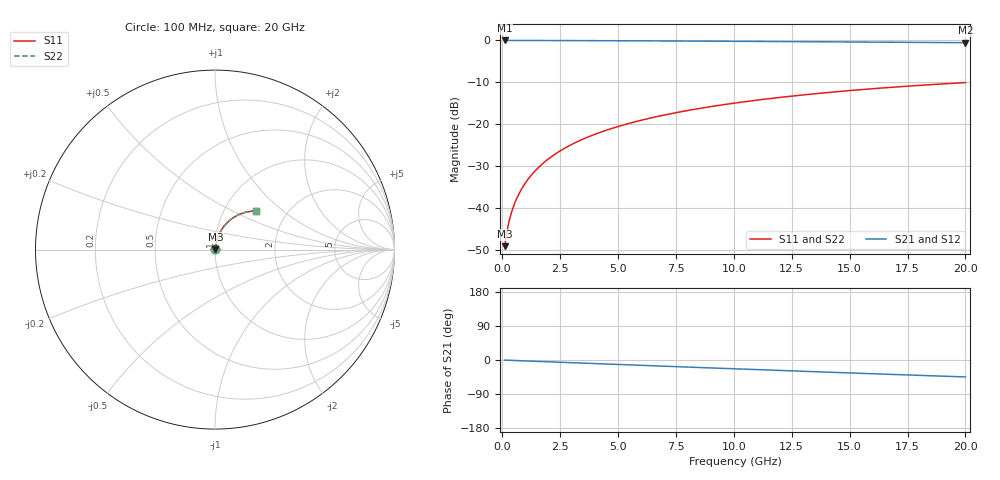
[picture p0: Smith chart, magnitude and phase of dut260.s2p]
! Touchstone file exported from HFSS 2026.1.0
!  File:  C:/ffzhzh/LocalFiles/Ansys_Project_Files/temp_train_BSMRDL_260_1782988754_42984.aedt
!  Generated:  06:40:26 PM Jul  2, 2026
!  Design:  BSMRDL
!  Project:  temp_train_BSMRDL_260_1782988754_42984
! Variables:
!  h_bsmrdl = 3.89um
!  h_ox = 20um
!  h_rdl = 5um
!  h_sub = 80um
!  h_tmrdl = 5um
!  h_tsv = 80um
!  h_via = 3um
!  l_bsmrdl = 709.08um
!  l_sub = 1109.08um
!  l_tmrdl = 200um
!  m_sub = 200um
!  pitch = 45.6um
!  r_tsv = 6um
!  s_tmrdl = 10um
!  w_bsmrdl = 26.57um
!  w_sub = 500um
!  w_tmrdl = 12um
!  x_tsv_center1 = 206um
!  x_tsv_center2 = 941.65um
!  x_tsv_center3 = 1153.65um
!  x_tsv_center4 = 1889.3um
!  x_tsv_center5 = 2101.3um
!  x_tsv_center6 = 2836.95um
# GHz S MA R 50.000000
! Terminal data exported
! Port[1] = BSM_RDL1_1_T1
! Port[2] = BSM_RDL1_1_T2
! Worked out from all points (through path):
!   200 points, 100 MHz to 20 GHz, reference 50 ohm
!   highest |S21| = -0.02 dB at 100 MHz (marker M1); lowest = -0.6 dB at 20 GHz (marker M2)
!   group delay of S21, straight-line fit = 6.21 ps
!   lowest |S11| = -49.1 dB at 100 MHz (marker M3), VSWR 1.01, Z = 50.3 + j0.224 ohm
!   |S11| at or under -10 dB: start of sweep to end of sweep
!   |S22| runs from -49.1 to -10.1 dB; largest |S21 - S12| = 4.2e-15
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0.1  0.00349 39.6  0.9973 -0.3  0.9973 -0.3  0.00349 39.6
! Gamma 0 0 0 0
! Port Impedance 50 0 50 0
0.2  0.005222 55.9  0.9971 -0.5  0.9971 -0.5  0.005221 55.9
0.3  0.007054 63.1  0.9969 -0.7  0.9969 -0.7  0.007052 63.1
0.4  0.008874 67.3  0.9967 -1.0  0.9967 -1.0  0.008871 67.3
0.5  0.01069 70.2  0.9966 -1.2  0.9966 -1.2  0.01068 70.2
0.6  0.0125 72.2  0.9965 -1.5  0.9965 -1.5  0.0125 72.3
0.8  0.01616 75.0  0.9963 -1.9  0.9963 -1.9  0.01616 75.1
1.1  0.02173 77.3  0.9961 -2.6  0.9961 -2.6  0.02172 77.3
1.3  0.02546 78.1  0.9959 -3.1  0.9959 -3.1  0.02546 78.2
1.6  0.03108 78.8  0.9956 -3.8  0.9956 -3.8  0.03108 78.8
2.1  0.04047 79.0  0.995 -5.0  0.995 -5.0  0.04047 79.0
2.7  0.05168 78.5  0.9942 -6.4  0.9942 -6.4  0.05168 78.5
3.5  0.06649 77.3  0.9928 -8.3  0.9928 -8.3  0.06649 77.4
4.2  0.07928 76.1  0.9914 -9.9  0.9914 -9.9  0.07927 76.1
5  0.09366 74.5  0.9896 -11.8  0.9896 -11.8  0.09366 74.5
5.9  0.1095 72.6  0.9873 -13.9  0.9873 -13.9  0.1095 72.6
6.8  0.1251 70.7  0.9849 -15.9  0.9849 -15.9  0.1251 70.7
8.3  0.1503 67.5  0.9805 -19.4  0.9805 -19.4  0.1503 67.6
10.1  0.1794 63.7  0.9747 -23.4  0.9747 -23.4  0.1793 63.7
13.4  0.2291 56.7  0.9631 -30.7  0.9631 -30.7  0.229 56.8
16.7  0.2738 49.9  0.9506 -37.8  0.9506 -37.8  0.2738 50.0
20  0.3132 43.1  0.9379 -44.7  0.9379 -44.7  0.3131 43.3
